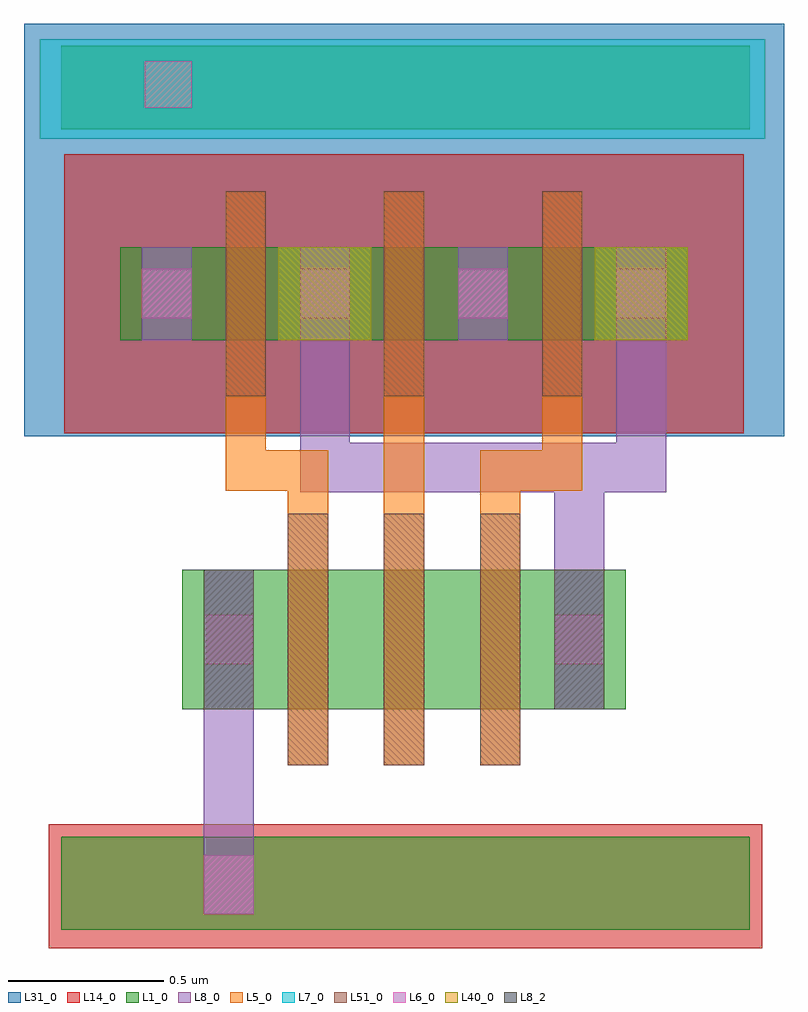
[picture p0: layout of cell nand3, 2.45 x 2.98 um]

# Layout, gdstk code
import gdstk
lib = gdstk.Library(unit=1e-6, precision=5e-09)
def R(c, l, rs):  # rectangles x0, y0, x1, y1
    for r in rs: c.add(gdstk.rectangle(r[:2], r[2:], *l))
def A(c, l, x, y, w, h, nx, ny, dx, dy):  # array of equal rectangles
    R(c, l, [(x+i*dx, y+j*dy, x+i*dx+w, y+j*dy+h) for i in range(nx) for j in range(ny)])
def P(c, l, *ps):  # polygons
    for p in ps: c.add(gdstk.Polygon(p, *l))
L1_0 = (1, 0)
L5_0 = (5, 0)
L6_0 = (6, 0)
L7_0 = (7, 0)
L8_0 = (8, 0)
L8_2 = (8, 2)
L14_0 = (14, 0)
L31_0 = (31, 0)
L40_0 = (40, 0)
L51_0 = (51, 0)

nmos_serie = lib.new_cell('nmos_serie')
R(nmos_serie, L1_0, [(0,0.18,1.43,0.63)])
A(nmos_serie, L5_0, 0.34, 0, 0.13, 0.81, 3, 1, 0.31, 0)
R(nmos_serie, L6_0, [(0.07,0.325,0.23,0.485), (1.2,0.325,1.36,0.485)])
R(nmos_serie, L8_0, [(0.07,0.18,0.23,0.63), (1.2,0.18,1.36,0.63)])
R(nmos_serie, L8_2, [(0.07,0.18,0.23,0.63), (1.2,0.18,1.36,0.63)])
A(nmos_serie, L51_0, 0.34, 0, 0.13, 0.81, 3, 1, 0.31, 0)
nmos_serie.add(gdstk.Label('nmos', (0.71,0.41), layer=63, texttype=0))
nmos_serie.add(gdstk.Label('nmos', (1.02,0.4), layer=63, texttype=0))
nmos_serie.add(gdstk.Label('nmos', (0.405,0.405), layer=63, texttype=0))
nmos_serie.add(gdstk.Label('nmos', (0.71,0.41), layer=51, texttype=0))
nmos_serie.add(gdstk.Label('nmos', (1.02,0.4), layer=51, texttype=0))
nmos_serie.add(gdstk.Label('nmos', (0.405,0.405), layer=51, texttype=0))

pmos_parallel = lib.new_cell('pmos_parallel')
R(pmos_parallel, L1_0, [(0.31,0.31,2.14,0.61), (0.31,0.31,0.61,0.61), (1.84,0.31,2.14,0.61)])
R(pmos_parallel, L5_0, [(0.65,0.13,0.78,0.79), (0.65,0.13,0.78,0.79), (1.16,0.13,1.29,0.79), (1.16,0.13,1.29,0.79), (1.67,0.13,1.8,0.79), (1.67,0.13,1.8,0.79)])
A(pmos_parallel, L6_0, 0.38, 0.38, 0.16, 0.16, 4, 1, 0.51, 0)
R(pmos_parallel, L8_0, [(0.38,0.31,0.54,0.61), (0.38,0.31,0.54,0.61), (0.89,0.31,1.05,0.61), (0.89,0.31,1.05,0.61), (1.4,0.31,1.56,0.61), (1.4,0.31,1.56,0.61), (1.91,0.31,2.07,0.61), (1.91,0.31,2.07,0.61)])
R(pmos_parallel, L14_0, [(0.13,0.01,2.32,0.91)])
R(pmos_parallel, L31_0, [(0,0,2.45,0.92)])
R(pmos_parallel, L40_0, [(0.82,0.31,1.12,0.61), (1.84,0.31,2.14,0.61)])
A(pmos_parallel, L51_0, 0.65, 0.13, 0.13, 0.66, 3, 1, 0.51, 0)
pmos_parallel.add(gdstk.Label('pmos', (1.22,0.46), layer=63, texttype=0))
pmos_parallel.add(gdstk.Label('pmos', (1.74,0.46), layer=63, texttype=0))
pmos_parallel.add(gdstk.Label('pmos', (0.715,0.46), layer=63, texttype=0))
pmos_parallel.add(gdstk.Label('pmos', (1.22,0.46), layer=51, texttype=0))
pmos_parallel.add(gdstk.Label('pmos', (1.74,0.46), layer=51, texttype=0))
pmos_parallel.add(gdstk.Label('pmos', (0.715,0.46), layer=51, texttype=0))

nand3 = lib.new_cell('nand3')
R(nand3, L1_0, [(0.12,-1.59,2.34,-1.29), (0.12,0.99,2.34,1.26)])
R(nand3, L5_0, [(1.16,-0.25,1.29,0.13)])
P(nand3, L5_0, [(0.85,-0.25),(0.85,-0.175),(0.65,-0.175),(0.65,0.13),(0.78,0.13),(0.78,-0.045),(0.98,-0.045),(0.98,-0.25)],
  [(1.47,-0.25),(1.47,-0.045),(1.67,-0.045),(1.67,0.13),(1.8,0.13),(1.8,-0.175),(1.6,-0.175),(1.6,-0.25)])
R(nand3, L6_0, [(0.58,-1.54,0.74,-1.35), (0.39,1.06,0.54,1.21)])
R(nand3, L7_0, [(0.05,0.96,2.39,1.28)])
R(nand3, L8_0, [(0.58,-1.54,0.74,-0.88)])
P(nand3, L8_0, [(1.71,-0.655),(1.71,-0.18),(0.89,-0.18),(0.89,0.46),(1.05,0.46),(1.05,-0.02),(1.91,-0.02),(1.91,0.46),(2.07,0.46),(2.07,-0.18),(1.87,-0.18),(1.87,-0.655)])
R(nand3, L14_0, [(0.08,-1.65,2.38,-1.25)])
R(nand3, L31_0, [(0,0.92,2.45,1.33)])
nand3.add(gdstk.Reference(nmos_serie, (0.51,-1.06)))
nand3.add(gdstk.Reference(pmos_parallel, (0,0)))

lib.write_gds('nand3.gds')
